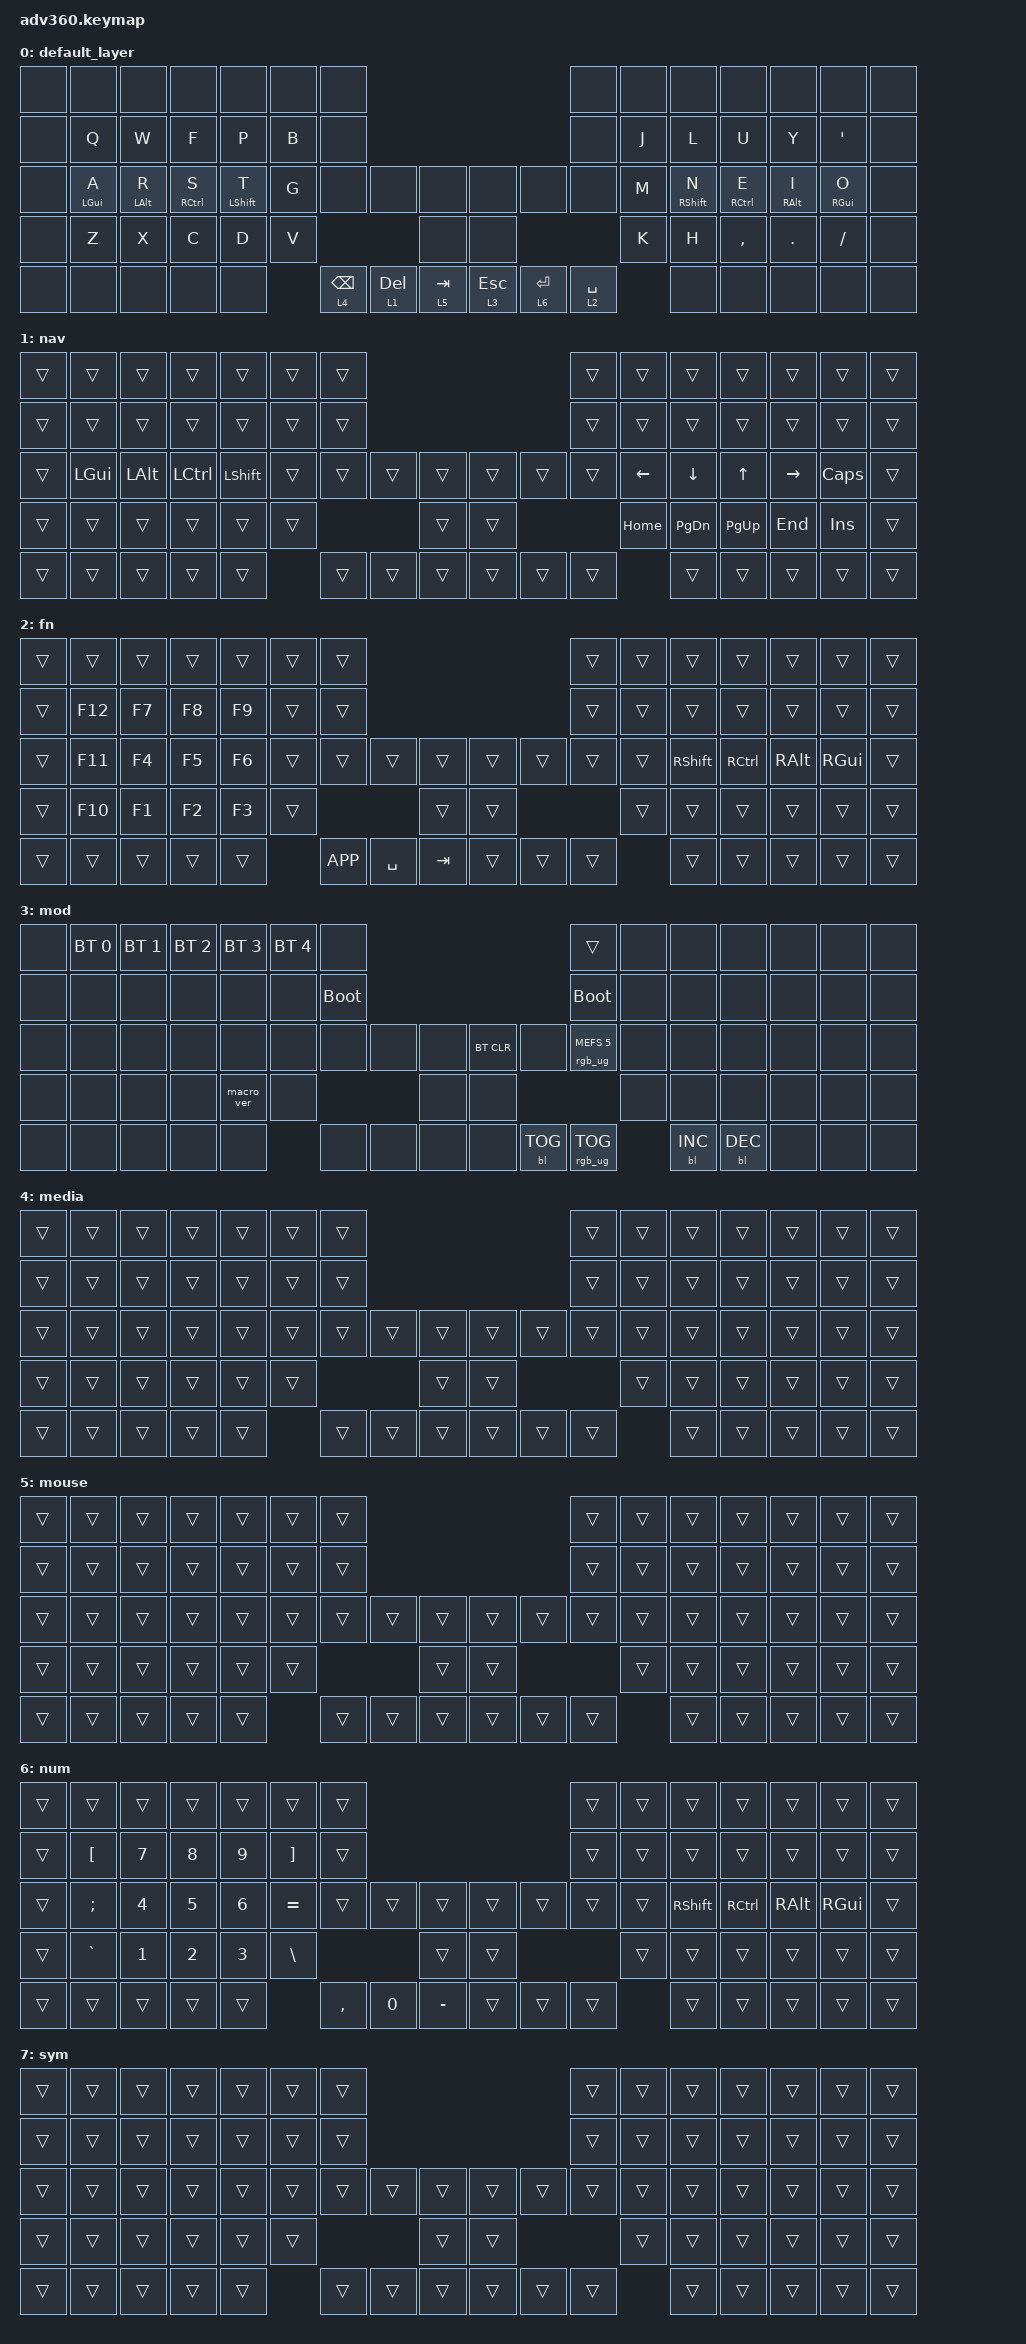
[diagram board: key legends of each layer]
#include <behaviors.dtsi>
#include <dt-bindings/zmk/backlight.h>
#include <dt-bindings/zmk/bt.h>
#include <dt-bindings/zmk/keys.h>
#include <dt-bindings/zmk/rgb.h>

/ {
    behaviors {
        #include "macros.dtsi"
      #include "version.dtsi"
      #ifndef VERSION_MACRO

        macro_ver: macro_ver {
            compatible = "zmk,behavior-macro";
            label = "macro_version";
            #binding-cells = <0>;
            bindings = <&kp RET>;
        };

        #endif

        hm: homerow_mods {
            compatible = "zmk,behavior-hold-tap";
            label = "HOMEROW_MODS";
            #binding-cells = <2>;
            tapping-term-ms = <200>;
            quick_tap_ms = <175>;
            flavor = "tap-preferred";
            bindings = <&kp>, <&kp>;
        };

        u_mt: u_mt {
            compatible = "zmk,behavior-hold-tap";
            label = "U_MT";
            bindings = <&kp>, <&kp>;

            #binding-cells = <2>;
            tapping-term-ms = <200>;
            flavor = "tap-preferred";
        };

        u_lt: u_lt {
            compatible = "zmk,behavior-hold-tap";
            label = "U_LT";
            bindings = <&mo>, <&kp>;

            #binding-cells = <2>;
            tapping-term-ms = <200>;
            flavor = "tap-preferred";
        };
    };

    macros {
    };

    keymap {
        compatible = "zmk,keymap";

        default_layer {
            bindings = <
&none  &none             &none             &none          &none               &none  &none                                                                              &none          &none  &none                &none          &none              &none              &none
&none  &kp Q             &kp W             &kp F          &kp P               &kp B  &none                                                                              &none          &kp J  &kp L                &kp U          &kp Y              &kp SQT            &none
&none  &u_mt LEFT_GUI A  &u_mt LEFT_ALT R  &u_mt RCTRL S  &u_mt LEFT_SHIFT T  &kp G  &none              &none           &none            &none           &none          &none          &kp M  &u_mt RIGHT_SHIFT N  &u_mt RCTRL E  &u_mt RIGHT_ALT I  &u_mt RIGHT_GUI O  &none
&none  &kp Z             &kp X             &kp C          &kp D               &kp V                                     &none            &none                                         &kp K  &kp H                &kp COMMA      &kp DOT            &kp FSLH           &none
&none  &none             &none             &none          &none                      &u_lt 4 BACKSPACE  &u_lt 1 DELETE  &u_lt 5 TAB      &u_lt 3 ESCAPE  &u_lt 6 ENTER  &u_lt 2 SPACE         &none                &none          &none              &none              &none
            >;
        };

        nav {
            bindings = <
&trans  &trans        &trans        &trans     &trans          &trans  &trans                                      &trans  &trans    &trans         &trans       &trans     &trans    &trans
&trans  &trans        &trans        &trans     &trans          &trans  &trans                                      &trans  &trans    &trans         &trans       &trans     &trans    &trans
&trans  &kp LEFT_GUI  &kp LEFT_ALT  &kp LCTRL  &kp LEFT_SHIFT  &trans  &trans  &trans  &trans      &trans  &trans  &trans  &kp LEFT  &kp DOWN       &kp UP       &kp RIGHT  &kp CAPS  &trans
&trans  &trans        &trans        &trans     &trans          &trans                  &trans      &trans                  &kp HOME  &kp PAGE_DOWN  &kp PAGE_UP  &kp END    &kp INS   &trans
&trans  &trans        &trans        &trans     &trans                  &trans  &trans  &trans      &trans  &trans  &trans            &trans         &trans       &trans     &trans    &trans
            >;
        };

        fn {
            bindings = <
&trans  &trans   &trans  &trans  &trans  &trans  &trans                                             &trans  &trans  &trans           &trans     &trans         &trans         &trans
&trans  &kp F12  &kp F7  &kp F8  &kp F9  &trans  &trans                                             &trans  &trans  &trans           &trans     &trans         &trans         &trans
&trans  &kp F11  &kp F4  &kp F5  &kp F6  &trans  &trans     &trans     &trans       &trans  &trans  &trans  &trans  &kp RIGHT_SHIFT  &kp RCTRL  &kp RIGHT_ALT  &kp RIGHT_GUI  &trans
&trans  &kp F10  &kp F1  &kp F2  &kp F3  &trans                        &trans       &trans                  &trans  &trans           &trans     &trans         &trans         &trans
&trans  &trans   &trans  &trans  &trans          &kp K_APP  &kp SPACE  &kp TAB      &trans  &trans  &trans          &trans           &trans     &trans         &trans         &trans
            >;
        };

        mod {
            bindings = <
&none  &bt BT_SEL 0  &bt BT_SEL 1  &bt BT_SEL 2  &bt BT_SEL 3  &bt BT_SEL 4  &none                                                  &trans                  &none  &none       &none       &none  &none  &none
&none  &none         &none         &none         &none         &none         &bootloader                                            &bootloader             &none  &none       &none       &none  &none  &none
&none  &none         &none         &none         &none         &none         &none        &none  &none      &bt BT_CLR  &none       &rgb_ug RGB_MEFS_CMD 5  &none  &none       &none       &none  &none  &none
&none  &none         &none         &none         &macro_ver    &none                             &none      &none                                           &none  &none       &none       &none  &none  &none
&none  &none         &none         &none         &none                       &none        &none  &none      &none       &bl BL_TOG  &rgb_ug RGB_TOG                &bl BL_INC  &bl BL_DEC  &none  &none  &none
            >;
        };

        media {
            bindings = <
&trans  &trans  &trans  &trans  &trans  &trans  &trans                                      &trans  &trans  &trans  &trans  &trans  &trans  &trans
&trans  &trans  &trans  &trans  &trans  &trans  &trans                                      &trans  &trans  &trans  &trans  &trans  &trans  &trans
&trans  &trans  &trans  &trans  &trans  &trans  &trans  &trans  &trans      &trans  &trans  &trans  &trans  &trans  &trans  &trans  &trans  &trans
&trans  &trans  &trans  &trans  &trans  &trans                  &trans      &trans                  &trans  &trans  &trans  &trans  &trans  &trans
&trans  &trans  &trans  &trans  &trans          &trans  &trans  &trans      &trans  &trans  &trans          &trans  &trans  &trans  &trans  &trans
            >;
        };

        mouse {
            bindings = <
&trans  &trans  &trans  &trans  &trans  &trans  &trans                                      &trans  &trans  &trans  &trans  &trans  &trans  &trans
&trans  &trans  &trans  &trans  &trans  &trans  &trans                                      &trans  &trans  &trans  &trans  &trans  &trans  &trans
&trans  &trans  &trans  &trans  &trans  &trans  &trans  &trans  &trans      &trans  &trans  &trans  &trans  &trans  &trans  &trans  &trans  &trans
&trans  &trans  &trans  &trans  &trans  &trans                  &trans      &trans                  &trans  &trans  &trans  &trans  &trans  &trans
&trans  &trans  &trans  &trans  &trans          &trans  &trans  &trans      &trans  &trans  &trans          &trans  &trans  &trans  &trans  &trans
            >;
        };

        num {
            bindings = <
&trans  &trans            &trans        &trans        &trans        &trans             &trans                                                  &trans  &trans  &trans           &trans     &trans         &trans         &trans
&trans  &kp LEFT_BRACKET  &kp NUMBER_7  &kp NUMBER_8  &kp NUMBER_9  &kp RIGHT_BRACKET  &trans                                                  &trans  &trans  &trans           &trans     &trans         &trans         &trans
&trans  &kp SEMICOLON     &kp NUMBER_4  &kp NUMBER_5  &kp NUMBER_6  &kp EQUAL          &trans     &trans        &trans         &trans  &trans  &trans  &trans  &kp RIGHT_SHIFT  &kp RCTRL  &kp RIGHT_ALT  &kp RIGHT_GUI  &trans
&trans  &kp GRAVE         &kp NUMBER_1  &kp NUMBER_2  &kp NUMBER_3  &kp BACKSLASH                               &trans         &trans                  &trans  &trans           &trans     &trans         &trans         &trans
&trans  &trans            &trans        &trans        &trans                           &kp COMMA  &kp NUMBER_0  &kp MINUS      &trans  &trans  &trans          &trans           &trans     &trans         &trans         &trans
            >;
        };

        sym {
            bindings = <
&trans  &trans  &trans  &trans  &trans  &trans  &trans                                      &trans  &trans  &trans  &trans  &trans  &trans  &trans
&trans  &trans  &trans  &trans  &trans  &trans  &trans                                      &trans  &trans  &trans  &trans  &trans  &trans  &trans
&trans  &trans  &trans  &trans  &trans  &trans  &trans  &trans  &trans      &trans  &trans  &trans  &trans  &trans  &trans  &trans  &trans  &trans
&trans  &trans  &trans  &trans  &trans  &trans                  &trans      &trans                  &trans  &trans  &trans  &trans  &trans  &trans
&trans  &trans  &trans  &trans  &trans          &trans  &trans  &trans      &trans  &trans  &trans          &trans  &trans  &trans  &trans  &trans
            >;
        };
    };
};
